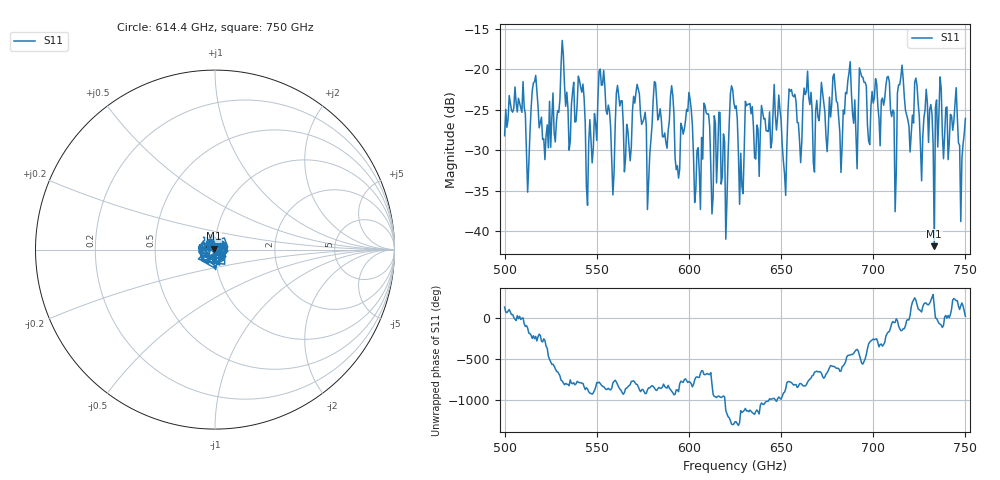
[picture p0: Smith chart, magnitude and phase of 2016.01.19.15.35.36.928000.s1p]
!Created with skrf (http://scikit-rf.org).
# GHz S RI R 50.0
!freq ReS11 ImS11
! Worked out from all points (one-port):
!   401 points, 500 GHz to 750 GHz, reference 50 ohm
!   lowest |S11| = -41.9 dB at 733.1 GHz (marker M1), VSWR 1.02, Z = 49.4 + j0.484 ohm
!   |S11| at or under -10 dB: start of sweep to end of sweep
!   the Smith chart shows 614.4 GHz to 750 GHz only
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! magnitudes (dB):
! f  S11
! 500 GHz  -28.2
! 513.1 GHz  -31.8
! 516.2 GHz  -21.5
! 522.5 GHz  -28.2
! 531.2 GHz  -16.4
! 541.2 GHz  -22.2
! 545.6 GHz  -29.1
! 552.5 GHz  -22.0
! 558.8 GHz  -35.5
! 562.5 GHz  -24.5
! 578.1 GHz  -34.0
! 581.2 GHz  -21.5
! 590.6 GHz  -22.0
! 593.8 GHz  -31.9
! 600 GHz  -22.9
! 604.4 GHz  -30.0
! 609.4 GHz  -25.4
! 619.4 GHz  -29.0
! 625 GHz  -24.8
! 628.1 GHz  -30.4
! 631.9 GHz  -24.3
! 651.9 GHz  -32.9
! 656.2 GHz  -23.2
! 682.5 GHz  -32.7
! 687.5 GHz  -19.0
! 718.8 GHz  -26.2
! 733.1 GHz  -41.9
! 750 GHz  -26.1
